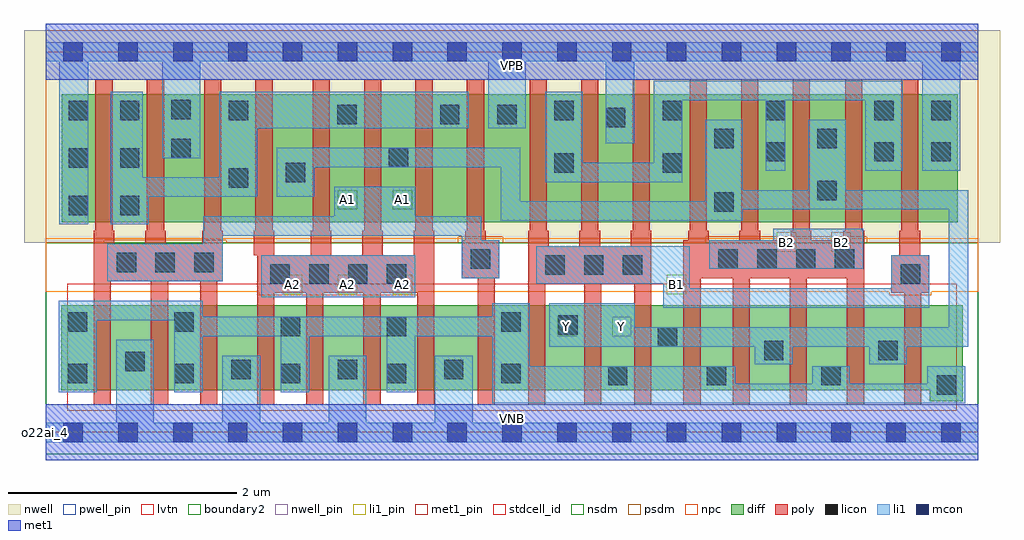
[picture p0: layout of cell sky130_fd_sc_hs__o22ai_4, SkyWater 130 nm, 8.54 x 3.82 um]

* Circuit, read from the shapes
.subckt sky130_fd_sc_hs__o22ai_4 A1 A2 B1 B2 VGND VNB VPB VPWR Y
XM1 VGND A1 n1 VNB sky130_fd_pr__nfet_01v8_lvt w=0.74 l=0.15 m=4
XM2 n1 A2 VGND VNB sky130_fd_pr__nfet_01v8_lvt w=0.74 l=0.15 m=4
XM3 Y B1 n1 VNB sky130_fd_pr__nfet_01v8_lvt w=0.74 l=0.15 m=4
XM4 n1 B2 Y VNB sky130_fd_pr__nfet_01v8_lvt w=0.74 l=0.15 m=4
XM5 n2 A1 VPWR VPB sky130_fd_pr__pfet_01v8 w=1.12 l=0.15 m=4
XM6 Y A2 n2 VPB sky130_fd_pr__pfet_01v8 w=1.12 l=0.15 m=4
XM7 n3 B1 VPWR VPB sky130_fd_pr__pfet_01v8 w=1.12 l=0.15 m=4
XM8 Y B2 n3 VPB sky130_fd_pr__pfet_01v8 w=1.12 l=0.15 m=4
.ends

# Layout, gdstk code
import gdstk
lib = gdstk.Library(unit=1e-6, precision=1e-09)
def R(c, l, rs):  # rectangles x0, y0, x1, y1
    for r in rs: c.add(gdstk.rectangle(r[:2], r[2:], *l))
def A(c, l, x, y, w, h, nx, ny, dx, dy):  # array of equal rectangles
    R(c, l, [(x+i*dx, y+j*dy, x+i*dx+w, y+j*dy+h) for i in range(nx) for j in range(ny)])
def P(c, l, *ps):  # polygons
    for p in ps: c.add(gdstk.Polygon(p, *l))
nwell_pin = (64, 16)
nwell = (64, 20)
diff = (65, 20)
poly = (66, 20)
licon = (66, 44)
li1_pin = (67, 16)
li1 = (67, 20)
mcon = (67, 44)
met1_pin = (68, 16)
met1 = (68, 20)
stdcell_id = (81, 4)
nsdm = (93, 44)
psdm = (94, 20)
npc = (95, 20)
pwell_pin = (122, 16)
lvtn = (125, 44)
boundary2 = (236, 0)

sky130_fd_sc_hs__o22ai_4 = lib.new_cell('sky130_fd_sc_hs__o22ai_4')
R(sky130_fd_sc_hs__o22ai_4, nwell_pin, [(0,3.085,8.16,3.33)])
R(sky130_fd_sc_hs__o22ai_4, nwell, [(-0.19,1.66,8.35,3.52)])
R(sky130_fd_sc_hs__o22ai_4, diff, [(0.14,1.84,7.98,2.96)])
P(sky130_fd_sc_hs__o22ai_4, diff, [(8.025,1.11),(0.135,1.11),(0.135,0.37),(7.735,0.37),(7.735,0.27),(8.025,0.27)])
P(sky130_fd_sc_hs__o22ai_4, poly, [(3.97,1.68),(3.85,1.68),(3.85,1.765),(3.835,1.765),(3.835,3.09),(3.685,3.09),(3.685,1.765),(3.67,1.765),(3.67,1.68),(3.64,1.68),(3.64,1.35),(3.78,1.35),(3.78,0.24),(3.93,0.24),(3.93,1.35),(3.97,1.35)],
  [(5.3,1.765),(5.285,1.765),(5.285,3.09),(5.135,3.09),(5.135,1.765),(5.12,1.765),(5.12,1.63),(4.85,1.63),(4.85,1.765),(4.835,1.765),(4.835,3.09),(4.685,3.09),(4.685,1.765),(4.67,1.765),(4.67,1.63),(4.4,1.63),(4.4,1.765),(4.385,1.765),(4.385,3.09),(4.235,3.09),(4.235,1.765),(4.22,1.765),(4.22,0.24),(4.37,0.24),(4.37,1.3),(4.71,1.3),(4.71,0.24),(4.86,0.24),(4.86,1.3),(5.15,1.3),(5.15,0.24),(5.3,0.24)],
  [(7.16,1.765),(7.145,1.765),(7.145,3.09),(6.995,3.09),(6.995,1.765),(6.98,1.765),(6.98,1.68),(6.7,1.68),(6.7,1.765),(6.685,1.765),(6.685,3.09),(6.535,3.09),(6.535,1.765),(6.52,1.765),(6.52,1.68),(6.25,1.68),(6.25,1.765),(6.235,1.765),(6.235,3.09),(6.085,3.09),(6.085,1.765),(6.07,1.765),(6.07,1.68),(5.8,1.68),(5.8,1.765),(5.785,1.765),(5.785,3.09),(5.635,3.09),(5.635,1.765),(5.62,1.765),(5.62,1.68),(5.58,1.68),(5.58,0.24),(5.73,0.24),(5.73,1.35),(6.01,1.35),(6.01,0.24),(6.16,0.24),(6.16,1.35),(6.51,1.35),(6.51,0.24),(6.66,0.24),(6.66,1.35),(7.01,1.35),(7.01,0.24),(7.16,0.24)],
  [(7.73,1.55),(7.65,1.55),(7.65,1.765),(7.635,1.765),(7.635,3.09),(7.485,3.09),(7.485,1.765),(7.47,1.765),(7.47,1.55),(7.4,1.55),(7.4,1.22),(7.51,1.22),(7.51,0.24),(7.66,0.24),(7.66,1.22),(7.73,1.22)],
  [(1.55,1.765),(1.535,1.765),(1.535,3.09),(1.385,3.09),(1.385,1.765),(1.37,1.765),(1.37,1.65),(1.05,1.65),(1.05,1.765),(1.035,1.765),(1.035,3.09),(0.885,3.09),(0.885,1.765),(0.87,1.765),(0.87,1.65),(0.6,1.65),(0.6,1.765),(0.585,1.765),(0.585,3.09),(0.435,3.09),(0.435,1.765),(0.42,1.765),(0.42,0.24),(0.57,0.24),(0.57,1.32),(0.92,1.32),(0.92,0.24),(1.07,0.24),(1.07,1.32),(1.35,1.32),(1.35,0.24),(1.5,0.24),(1.5,1.32),(1.55,1.32)],
  [(3.4,1.765),(3.385,1.765),(3.385,3.09),(3.235,3.09),(3.235,1.765),(3.22,1.765),(3.22,1.55),(2.95,1.55),(2.95,1.765),(2.935,1.765),(2.935,3.09),(2.785,3.09),(2.785,1.765),(2.77,1.765),(2.77,1.55),(2.5,1.55),(2.5,1.765),(2.485,1.765),(2.485,3.09),(2.335,3.09),(2.335,1.765),(2.32,1.765),(2.32,1.55),(2,1.55),(2,1.765),(1.985,1.765),(1.985,3.09),(1.835,3.09),(1.835,1.765),(1.82,1.765),(1.82,1.55),(1.85,1.55),(1.85,0.24),(2,0.24),(2,1.22),(2.28,1.22),(2.28,0.24),(2.43,0.24),(2.43,1.22),(2.78,1.22),(2.78,0.24),(2.93,0.24),(2.93,1.22),(3.25,1.22),(3.25,0.24),(3.4,0.24)])
A(sky130_fd_sc_hs__o22ai_4, licon, 0.195, 0.43, 0.17, 0.17, 4, 1, 0.93, 0)
A(sky130_fd_sc_hs__o22ai_4, licon, 1.625, 0.465, 0.17, 0.17, 3, 1, 0.93, 0)
A(sky130_fd_sc_hs__o22ai_4, licon, 1.965, 1.3, 0.17, 0.17, 4, 1, 0.34, 0)
A(sky130_fd_sc_hs__o22ai_4, licon, 4.37, 1.38, 0.17, 0.17, 3, 1, 0.34, 0)
A(sky130_fd_sc_hs__o22ai_4, licon, 0.62, 1.4, 0.17, 0.17, 3, 1, 0.34, 0)
A(sky130_fd_sc_hs__o22ai_4, licon, 5.885, 1.43, 0.17, 0.17, 4, 1, 0.34, 0)
A(sky130_fd_sc_hs__o22ai_4, licon, 0.2, 1.9, 0.17, 0.17, 1, 3, 0, 0.415)
A(sky130_fd_sc_hs__o22ai_4, licon, 0.65, 1.9, 0.17, 0.17, 1, 3, 0, 0.415)
R(sky130_fd_sc_hs__o22ai_4, licon, [(7.795,0.33,7.965,0.5), (4.92,0.41,5.09,0.58), (5.785,0.41,5.955,0.58), (6.785,0.41,6.955,0.58), (3.985,0.43,4.155,0.6), (0.695,0.535,0.865,0.705), (6.285,0.63,6.455,0.8), (7.285,0.63,7.455,0.8), (5.355,0.75,5.525,0.92), (2.055,0.84,2.225,1.01), (2.985,0.84,3.155,1.01), (4.485,0.855,4.655,1.025), (0.195,0.88,0.365,1.05), (1.125,0.88,1.295,1.05), (3.985,0.88,4.155,1.05), (7.48,1.3,7.65,1.47), (3.72,1.43,3.89,1.6), (5.85,1.93,6.02,2.1), (6.75,2.03,6.92,2.2), (1.6,2.14,1.77,2.31), (2.1,2.19,2.27,2.36), (4.45,2.27,4.62,2.44), (5.4,2.27,5.57,2.44), (3,2.32,3.17,2.49), (6.3,2.37,6.47,2.54), (7.25,2.37,7.42,2.54), (7.75,2.37,7.92,2.54), (1.1,2.4,1.27,2.57), (5.85,2.485,6.02,2.655), (6.75,2.485,6.92,2.655), (4.9,2.67,5.07,2.84), (2.55,2.695,2.72,2.865), (3.45,2.695,3.62,2.865), (3.95,2.695,4.12,2.865), (1.6,2.73,1.77,2.9), (4.45,2.73,4.62,2.9), (5.4,2.73,5.57,2.9), (6.3,2.73,6.47,2.9), (7.25,2.73,7.42,2.9), (7.75,2.73,7.92,2.9), (1.1,2.74,1.27,2.91)])
A(sky130_fd_sc_hs__o22ai_4, li1_pin, 2.075, 1.21, 0.17, 0.17, 3, 1, 0.48, 0)
R(sky130_fd_sc_hs__o22ai_4, li1_pin, [(4.475,0.84,4.645,1.01), (4.955,0.84,5.125,1.01), (5.435,1.21,5.605,1.38), (6.395,1.58,6.565,1.75), (6.875,1.58,7.045,1.75), (2.555,1.95,2.725,2.12), (3.035,1.95,3.205,2.12)])
R(sky130_fd_sc_hs__o22ai_4, li1, [(1.885,1.18,3.235,1.55)])
P(sky130_fd_sc_hs__o22ai_4, li1, [(0,-0.085),(0,0.085),(0.615,0.085),(0.615,0.81),(0.945,0.81),(0.945,0.085),(1.545,0.085),(1.545,0.67),(1.875,0.67),(1.875,0.085),(2.475,0.085),(2.475,0.67),(2.805,0.67),(2.805,0.085),(3.405,0.085),(3.405,0.67),(3.735,0.67),(3.735,0.085),(8.16,0.085),(8.16,-0.085)],
  [(0,3.245),(0,3.415),(8.16,3.415),(8.16,3.245),(8,3.245),(8,2.29),(7.67,2.29),(7.67,3.245),(5.15,3.245),(5.15,2.53),(4.9,2.53),(4.9,3.245),(4.2,3.245),(4.2,2.66),(3.87,2.66),(3.87,3.245),(1.35,3.245),(1.35,2.4),(1.02,2.4),(1.02,3.245),(0.37,3.245),(0.37,1.82),(0.12,1.82),(0.12,3.245)],
  [(5.635,1.26),(7.4,1.26),(7.4,1.55),(7.73,1.55),(7.73,1.09),(5.405,1.09),(5.405,1.3),(4.29,1.3),(4.29,1.63),(5.635,1.63)],
  [(5.805,1.43),(5.805,1.68),(6.365,1.68),(6.365,1.78),(7.155,1.78),(7.155,1.43)],
  [(5.155,0.92),(7.9,0.92),(7.9,1.95),(6.1,1.95),(6.1,1.85),(3.98,1.85),(3.98,2.32),(2.35,2.32),(2.35,2.06),(2.02,2.06),(2.02,2.49),(4.15,2.49),(4.15,2.02),(5.77,2.02),(5.77,2.735),(6.1,2.735),(6.1,2.12),(6.67,2.12),(6.67,2.735),(7,2.735),(7,2.12),(8.07,2.12),(8.07,0.75),(7.535,0.75),(7.535,0.595),(7.205,0.595),(7.205,0.75),(6.535,0.75),(6.535,0.595),(6.205,0.595),(6.205,0.75),(4.405,0.75),(4.405,1.13),(5.155,1.13)],
  [(1.38,1.89),(2.525,1.89),(2.525,2.15),(3.235,2.15),(3.235,1.89),(3.81,1.89),(3.81,1.68),(3.97,1.68),(3.97,1.35),(3.64,1.35),(3.64,1.72),(1.55,1.72),(1.55,1.32),(0.54,1.32),(0.54,1.65),(1.38,1.65)],
  [(1.85,2.66),(1.85,2.06),(0.9,2.06),(0.9,1.82),(0.57,1.82),(0.57,2.98),(0.85,2.98),(0.85,2.23),(1.52,2.23),(1.52,2.98),(3.7,2.98),(3.7,2.66)],
  [(5.32,2.36),(5.32,3.075),(7.5,3.075),(7.5,2.29),(7.17,2.29),(7.17,2.905),(6.47,2.905),(6.47,2.29),(6.3,2.29),(6.3,2.905),(5.57,2.905),(5.57,2.19),(4.37,2.19),(4.37,2.98),(4.7,2.98),(4.7,2.36)],
  [(1.125,0.35),(1.125,0.98),(0.445,0.98),(0.445,0.35),(0.115,0.35),(0.115,1.15),(1.375,1.15),(1.375,1.01),(3.905,1.01),(3.905,1.13),(4.235,1.13),(4.235,0.58),(6.035,0.58),(6.035,0.425),(6.705,0.425),(6.705,0.58),(7.035,0.58),(7.035,0.425),(7.715,0.425),(7.715,0.58),(8.045,0.58),(8.045,0.255),(3.905,0.255),(3.905,0.84),(3.235,0.84),(3.235,0.35),(2.985,0.35),(2.985,0.84),(2.305,0.84),(2.305,0.35),(2.055,0.35),(2.055,0.84),(1.375,0.84),(1.375,0.35)])
A(sky130_fd_sc_hs__o22ai_4, mcon, 0.155, -0.085, 0.17, 0.17, 17, 2, 0.48, 3.33)
R(sky130_fd_sc_hs__o22ai_4, met1_pin, [(0,0,8.16,0.245), (0,3.085,8.16,3.33)])
R(sky130_fd_sc_hs__o22ai_4, met1, [(0,-0.245,8.16,0.245), (0,3.085,8.16,3.575)])
R(sky130_fd_sc_hs__o22ai_4, stdcell_id, [(0,0,8.16,3.33)])
R(sky130_fd_sc_hs__o22ai_4, nsdm, [(0,-0.19,8.16,1.66)])
P(sky130_fd_sc_hs__o22ai_4, psdm, [(8.16,3.52),(0,3.52),(0,1.66),(0.51,1.66),(0.51,1.68),(1.58,1.68),(1.58,1.66),(3.61,1.66),(3.61,1.71),(4,1.71),(4,1.66),(5.775,1.66),(5.775,1.71),(7.185,1.71),(7.185,1.66),(8.16,1.66)])
P(sky130_fd_sc_hs__o22ai_4, npc, [(8.16,1.7),(0,1.7),(0,1.23),(1.865,1.23),(1.865,1.2),(3.255,1.2),(3.255,1.23),(7.38,1.23),(7.38,1.2),(7.75,1.2),(7.75,1.23),(8.16,1.23)])
R(sky130_fd_sc_hs__o22ai_4, pwell_pin, [(0,0,8.16,0.245)])
R(sky130_fd_sc_hs__o22ai_4, lvtn, [(0.19,0.19,7.97,1.3)])
R(sky130_fd_sc_hs__o22ai_4, boundary2, [(0,0,8.16,3.33)])
sky130_fd_sc_hs__o22ai_4.add(gdstk.Label('o22ai_4', (0,0), layer=83, texttype=44))
sky130_fd_sc_hs__o22ai_4.add(gdstk.Label('VNB', (4.08,0.123), layer=64, texttype=59))
sky130_fd_sc_hs__o22ai_4.add(gdstk.Label('VPB', (4.08,3.208), layer=64, texttype=5))
sky130_fd_sc_hs__o22ai_4.add(gdstk.Label('VPWR', (4.08,3.208), layer=68, texttype=5))
sky130_fd_sc_hs__o22ai_4.add(gdstk.Label('VGND', (4.08,0.123), layer=68, texttype=5))
sky130_fd_sc_hs__o22ai_4.add(gdstk.Label('B1', (5.52,1.295), layer=67, texttype=5))
sky130_fd_sc_hs__o22ai_4.add(gdstk.Label('B2', (6.48,1.665), layer=67, texttype=5))
sky130_fd_sc_hs__o22ai_4.add(gdstk.Label('B2', (6.96,1.665), layer=67, texttype=5))
sky130_fd_sc_hs__o22ai_4.add(gdstk.Label('Y', (4.56,0.925), layer=67, texttype=5))
sky130_fd_sc_hs__o22ai_4.add(gdstk.Label('Y', (5.04,0.925), layer=67, texttype=5))
sky130_fd_sc_hs__o22ai_4.add(gdstk.Label('A2', (2.16,1.295), layer=67, texttype=5))
sky130_fd_sc_hs__o22ai_4.add(gdstk.Label('A2', (2.64,1.295), layer=67, texttype=5))
sky130_fd_sc_hs__o22ai_4.add(gdstk.Label('A2', (3.12,1.295), layer=67, texttype=5))
sky130_fd_sc_hs__o22ai_4.add(gdstk.Label('A1', (2.64,2.035), layer=67, texttype=5))
sky130_fd_sc_hs__o22ai_4.add(gdstk.Label('A1', (3.12,2.035), layer=67, texttype=5))

lib.write_gds('sky130_fd_sc_hs__o22ai_4.gds')
